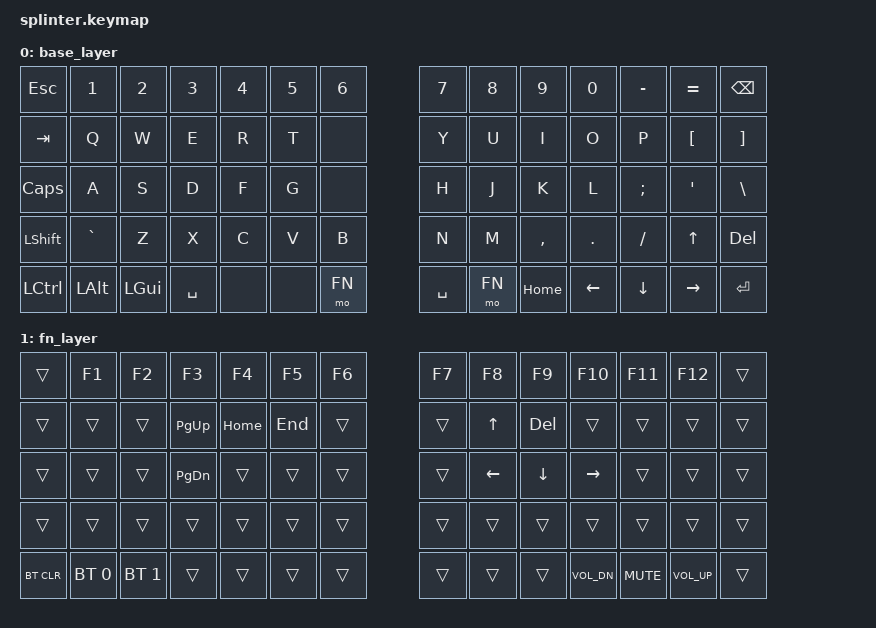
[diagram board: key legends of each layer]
/*
 * Copyright (c) 2024 The ZMK Contributors
 * SPDX-License-Identifier: MIT
 *
 * Splinter 65% Split Keyboard - Keymap
 * 70 keys total (35 per side)
 */

#include <behaviors.dtsi>
#include <dt-bindings/zmk/keys.h>
#include <dt-bindings/zmk/bt.h>

#define BASE 0
#define FN   1

/ {
    keymap {
        compatible = "zmk,keymap";

        base_layer {
            // ┌───┬───┬───┬───┬───┬───┬───┐   ┌───┬───┬───┬───┬───┬───┬───────┐
            // │ESC│ 1 │ 2 │ 3 │ 4 │ 5 │ 6 │   │ 7 │ 8 │ 9 │ 0 │ - │ = │ BKSPC │
            // ├───┴─┬─┴─┬─┴─┬─┴─┬─┴─┬─┴─┬─┘ ┌─┴─┬─┴─┬─┴─┬─┴─┬─┴─┬─┴─┬─┴─┬─────┤
            // │ TAB │ Q │ W │ E │ R │ T │   │ Y │ U │ I │ O │ P │ [ │ ] │  \  │
            // ├─────┴┬──┴┬──┴┬──┴┬──┴┬──┴┐  └┬──┴┬──┴┬──┴┬──┴┬──┴┬──┴┬──┴─────┤
            // │ CAPS │ A │ S │ D │ F │ G │   │ H │ J │ K │ L │ ; │ ' │  ENTER │
            // ├──────┴─┬─┴─┬─┴─┬─┴─┬─┴─┬─┴─┐ └─┬─┴─┬─┴─┬─┴─┬─┴─┬─┴─┬─┴─┬──────┤
            // │ SHIFT  │ ` │ Z │ X │ C │ V │ B │ N │ M │ , │ . │ / │UP │ DEL  │
            // ├────┬───┴┬──┴─┬─┴───┴───┴─┬─┴─┬─┴───┴───┴─┬─┴─┬─┴─┬─┴─┬─┴─┬────┤
            // │CTRL│ALT │GUI │   SPACE   │FN │   SPACE   │FN │HOM│←  │ ↓ │ →  │ENT
            // └────┴────┴────┴───────────┴───┴───────────┴───┴───┴───┴───┴────┘
            bindings = <
                &kp ESC   &kp N1    &kp N2    &kp N3    &kp N4    &kp N5    &kp N6       &kp N7    &kp N8    &kp N9    &kp N0    &kp MINUS &kp EQUAL &kp BSPC
                &kp TAB   &kp Q     &kp W     &kp E     &kp R     &kp T     &none        &kp Y     &kp U     &kp I     &kp O     &kp P     &kp LBKT  &kp RBKT
                &kp CAPS  &kp A     &kp S     &kp D     &kp F     &kp G     &none        &kp H     &kp J     &kp K     &kp L     &kp SEMI  &kp SQT   &kp BSLH
                &kp LSHFT &kp GRAVE &kp Z     &kp X     &kp C     &kp V     &kp B        &kp N     &kp M     &kp COMMA &kp DOT   &kp FSLH  &kp UP    &kp DEL
                &kp LCTRL &kp LALT  &kp LGUI  &kp SPACE &none     &none     &mo FN       &kp SPACE &mo FN    &kp HOME  &kp LEFT  &kp DOWN  &kp RIGHT &kp ENTER
            >;
        };

        fn_layer {
            // ┌───┬───┬───┬───┬───┬───┬───┐   ┌───┬───┬───┬───┬───┬───┬───────┐
            // │   │F1 │F2 │F3 │F4 │F5 │F6 │   │F7 │F8 │F9 │F10│F11│F12│       │
            // ├───┴─┬─┴─┬─┴─┬─┴─┬─┴─┬─┴─┬─┘ ┌─┴─┬─┴─┬─┴─┬─┴─┬─┴─┬─┴─┬─┴─┬─────┤
            // │     │   │   │PGU│HOM│END│   │   │ ↑ │DEL│   │   │   │   │     │
            // ├─────┴┬──┴┬──┴┬──┴┬──┴┬──┴┐  └┬──┴┬──┴┬──┴┬──┴┬──┴┬──┴┬──┴─────┤
            // │      │   │   │PGD│   │   │   │   │ ← │ ↓ │ → │   │   │        │
            // ├──────┴─┬─┴─┬─┴─┬─┴─┬─┴─┬─┴─┐ └─┬─┴─┬─┴─┬─┴─┬─┴─┬─┴─┬─┴─┬──────┤
            // │        │   │   │   │   │   │   │   │   │   │   │   │   │      │
            // ├────┬───┴┬──┴─┬─┴───┴───┴─┬─┴─┬─┴───┴───┴─┬─┴─┬─┴─┬─┴─┬─┴─┬────┤
            // │BTCL│BT1 │BT2 │           │   │           │   │   │VDN│MUT│VUP │
            // └────┴────┴────┴───────────┴───┴───────────┴───┴───┴───┴───┴────┘
            bindings = <
                &trans      &kp F1       &kp F2       &kp F3    &kp F4    &kp F5    &kp F6       &kp F7    &kp F8    &kp F9    &kp F10   &kp F11   &kp F12   &trans
                &trans      &trans       &trans       &kp PG_UP &kp HOME  &kp END   &trans       &trans    &kp UP    &kp DEL   &trans    &trans    &trans    &trans
                &trans      &trans       &trans       &kp PG_DN &trans    &trans    &trans       &trans    &kp LEFT  &kp DOWN  &kp RIGHT &trans    &trans    &trans
                &trans      &trans       &trans       &trans    &trans    &trans    &trans       &trans    &trans    &trans    &trans    &trans    &trans    &trans
                &bt BT_CLR  &bt BT_SEL 0 &bt BT_SEL 1 &trans    &trans    &trans    &trans       &trans    &trans    &trans    &kp C_VOL_DN &kp C_MUTE &kp C_VOL_UP &trans
            >;
        };
    };
};
